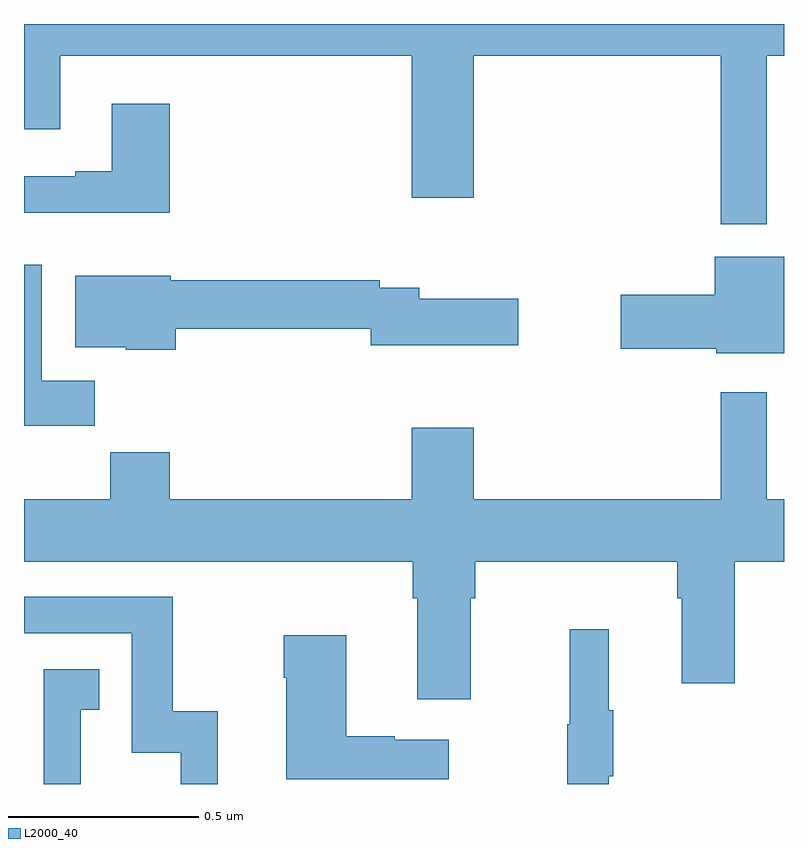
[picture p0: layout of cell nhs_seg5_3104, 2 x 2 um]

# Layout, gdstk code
import gdstk
lib = gdstk.Library(unit=1e-6, precision=1e-09)
def P(c, l, *ps):  # polygons
    for p in ps: c.add(gdstk.Polygon(p, *l))
L2000_40 = (2000, 40)

nhs_seg5_3104 = lib.new_cell('nhs_seg5_3104')
P(nhs_seg5_3104, L2000_40, [(153.955,900.716),(154,900.716),(154,900.799),(152,900.799),(152,900.522),(152.095,900.522),(152.095,900.716),(153.02,900.716),(153.02,900.342),(153.184,900.342),(153.184,900.716),(153.834,900.716),(153.834,900.272),(153.955,900.272)],
  [(152.384,900.589),(152.231,900.589),(152.231,900.412),(152.135,900.412),(152.135,900.399),(152,900.399),(152,900.302),(152.384,900.302)],
  [(154,900.187),(153.818,900.187),(153.818,900.086),(153.57,900.086),(153.57,899.944),(153.822,899.944),(153.822,899.933),(154,899.933)],
  [(152.186,899.86),(152.047,899.86),(152.047,900.166),(152,900.166),(152,899.742),(152.186,899.742)],
  [(152.399,899.997),(152.912,899.997),(152.912,899.954),(153.301,899.954),(153.301,900.076),(153.04,900.076),(153.04,900.105),(152.936,900.105),(152.936,900.125),(152.386,900.125),(152.386,900.136),(152.135,900.136),(152.135,899.948),(152.268,899.948),(152.268,899.942),(152.399,899.942)],
  [(153.175,899.288),(153.188,899.288),(153.188,899.384),(153.719,899.384),(153.719,899.288),(153.731,899.288),(153.731,899.064),(153.871,899.064),(153.871,899.384),(154,899.384),(154,899.548),(153.955,899.548),(153.955,899.83),(153.834,899.83),(153.834,899.548),(153.184,899.548),(153.184,899.737),(153.02,899.737),(153.02,899.548),(152.384,899.548),(152.384,899.672),(152.227,899.672),(152.227,899.548),(152,899.548),(152,899.384),(153.023,899.384),(153.023,899.288),(153.035,899.288),(153.035,899.022),(153.175,899.022)],
  [(152.51,898.99),(152.392,898.99),(152.392,899.292),(152,899.292),(152,899.196),(152.283,899.196),(152.283,898.881),(152.412,898.881),(152.412,898.799),(152.51,898.799)],
  [(153.539,898.819),(153.55,898.819),(153.55,898.993),(153.539,898.993),(153.539,899.206),(153.436,899.206),(153.436,898.956),(153.429,898.956),(153.429,898.799),(153.539,898.799)],
  [(153.118,898.915),(152.975,898.915),(152.975,898.925),(152.848,898.925),(152.848,899.191),(152.683,899.191),(152.683,899.078),(152.69,899.078),(152.69,898.811),(153.118,898.811)],
  [(152.149,898.995),(152.198,898.995),(152.198,899.101),(152.052,899.101),(152.052,898.799),(152.149,898.799)])

lib.write_gds('nhs_seg5_3104.gds')
